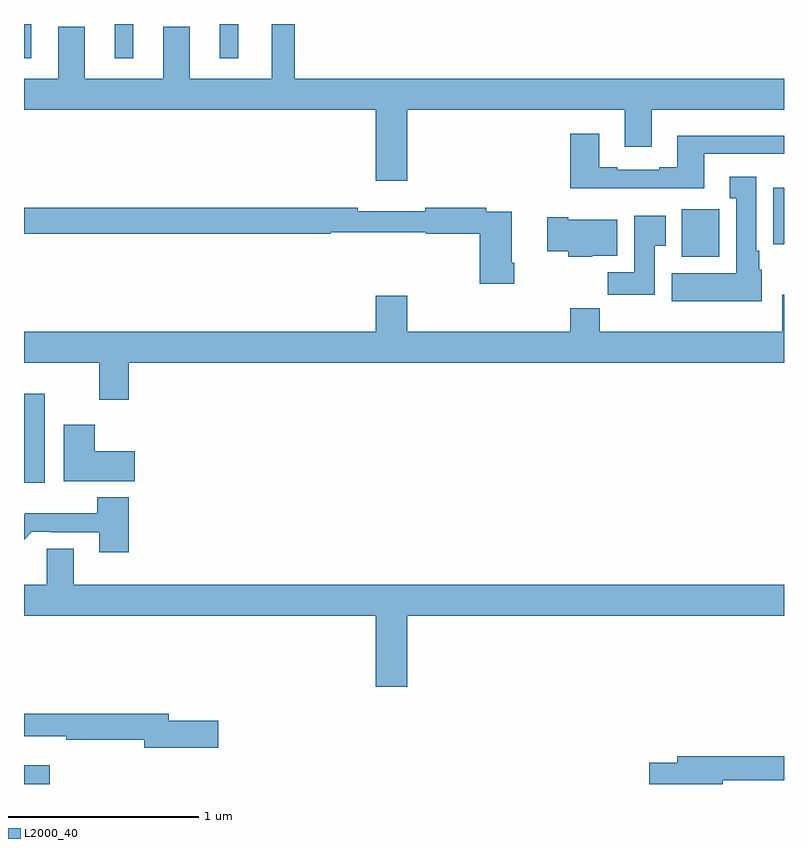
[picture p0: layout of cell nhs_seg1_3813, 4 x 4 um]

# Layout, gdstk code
import gdstk
lib = gdstk.Library(unit=1e-6, precision=1e-09)
def R(c, l, rs):  # rectangles x0, y0, x1, y1
    for r in rs: c.add(gdstk.rectangle(r[:2], r[2:], *l))
def P(c, l, *ps):  # polygons
    for p in ps: c.add(gdstk.Polygon(p, *l))
L2000_40 = (2000, 40)

nhs_seg1_3813 = lib.new_cell('nhs_seg1_3813')
R(nhs_seg1_3813, L2000_40, [(319,532.199,319.135,532.297), (319,533.784,319.108,534.253), (322.463,534.974,322.659,535.225), (322.943,535.04,323,535.336), (319,536.019,319.039,536.199), (319.478,536.019,319.576,536.199), (320.03,536.019,320.128,536.199)])
P(nhs_seg1_3813, L2000_40, [(321.016,535.748),(322.163,535.748),(322.163,535.554),(322.303,535.554),(322.303,535.748),(323,535.748),(323,535.912),(320.425,535.912),(320.425,536.199),(320.303,536.199),(320.303,535.912),(319.873,535.912),(319.873,536.185),(319.733,536.185),(319.733,535.912),(319.321,535.912),(319.321,536.185),(319.181,536.185),(319.181,535.912),(319,535.912),(319,535.748),(320.852,535.748),(320.852,535.374),(321.016,535.374)],
  [(322.579,535.515),(323,535.515),(323,535.612),(322.439,535.612),(322.439,535.444),(322.343,535.444),(322.343,535.431),(322.123,535.431),(322.123,535.444),(322.027,535.444),(322.027,535.621),(321.875,535.621),(321.875,535.334),(322.579,535.334)],
  [(322.882,534.906),(322.87,534.906),(322.87,535.006),(322.855,535.006),(322.855,535.396),(322.715,535.396),(322.715,535.283),(322.748,535.283),(322.748,534.886),(322.409,534.886),(322.409,534.74),(322.882,534.74)],
  [(321.581,534.943),(321.568,534.943),(321.568,535.212),(321.434,535.212),(321.434,535.232),(321.112,535.232),(321.112,535.213),(320.756,535.213),(320.756,535.232),(319,535.232),(319,535.096),(320.614,535.096),(320.614,535.104),(321.114,535.104),(321.114,535.096),(321.398,535.096),(321.398,534.831),(321.581,534.831)],
  [(322.321,535.033),(322.378,535.033),(322.378,535.189),(322.211,535.189),(322.211,534.892),(322.072,534.892),(322.072,534.774),(322.321,534.774)],
  [(321.99,534.98),(322.123,534.98),(322.123,535.168),(321.865,535.168),(321.865,535.181),(321.753,535.181),(321.753,535.003),(321.865,535.003),(321.865,534.974),(321.99,534.974)],
  [(319.55,534.416),(323,534.416),(323,534.775),(322.991,534.775),(322.991,534.58),(322.031,534.58),(322.031,534.704),(321.875,534.704),(321.875,534.58),(321.016,534.58),(321.016,534.769),(320.852,534.769),(320.852,534.58),(319,534.58),(319,534.416),(319.397,534.416),(319.397,534.222),(319.55,534.222)],
  [(319.582,533.95),(319.372,533.95),(319.372,534.091),(319.208,534.091),(319.208,533.792),(319.582,533.792)],
  [(319.55,533.707),(319.385,533.707),(319.385,533.623),(319.006,533.623),(319,533.617),(319,533.484),(319.042,533.526),(319.141,533.526),(319.141,533.523),(319.397,533.523),(319.397,533.418),(319.55,533.418)],
  [(319.261,533.438),(319.121,533.438),(319.121,533.248),(319,533.248),(319,533.084),(320.852,533.084),(320.852,532.71),(321.016,532.71),(321.016,533.084),(323,533.084),(323,533.248),(319.261,533.248)],
  [(320.023,532.532),(319.762,532.532),(319.762,532.568),(319,532.568),(319,532.451),(319.222,532.451),(319.222,532.432),(319.634,532.432),(319.634,532.39),(320.023,532.39)],
  [(322.678,532.218),(323,532.218),(323,532.346),(322.439,532.346),(322.439,532.31),(322.29,532.31),(322.29,532.199),(322.678,532.199)])

lib.write_gds('nhs_seg1_3813.gds')
